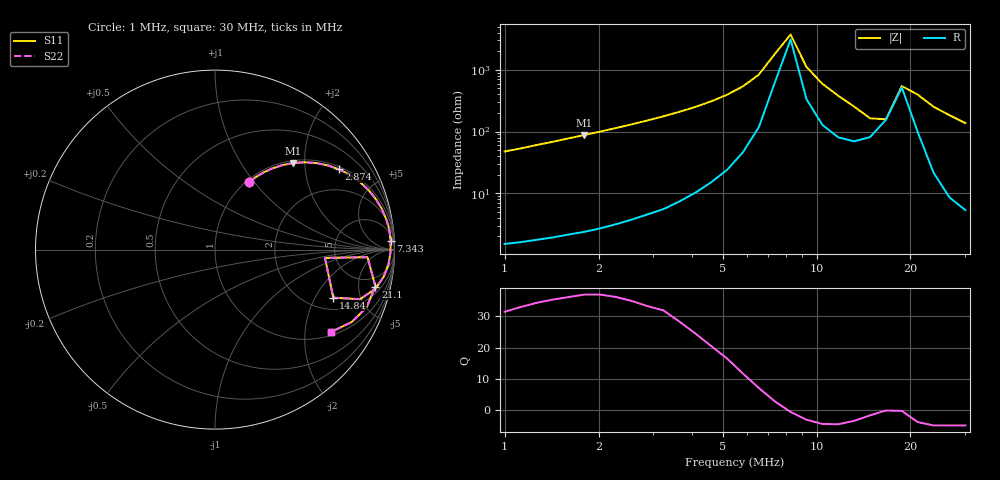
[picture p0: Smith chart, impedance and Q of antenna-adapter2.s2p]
# HZ S RI R 50
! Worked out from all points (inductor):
!   30 points, 1 MHz to 30 MHz, reference 50 ohm
!   read as one part in series: L = 7.36 uH near 1 MHz
!   highest Q = 37 at 1.798 MHz (marker M1), where L = 7.75 uH
!   self-resonance near 7.343 MHz
!   S11 on the Smith chart (normalised r, x): 1 MHz: 1.03, +0.95; 2.874 MHz: 1.09, +3.03; 7.343 MHz: 13, +34; 14.84 MHz: 2.63, -2.85; 21.1 MHz: 2.96, -7.68; 30 MHz: 1.11, -2.74
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1000000  0.1921 0.3784  0.8079 -0.3784  0.8079 -0.3784  0.1921 0.3784
1421692  0.3205 0.4527  0.6795 -0.4527  0.6795 -0.4527  0.3205 0.4527
1797530  0.4356 0.4825  0.5644 -0.4825  0.5644 -0.4825  0.4356 0.4825
2272723  0.5634 0.4824  0.4366 -0.4824  0.4366 -0.4824  0.5634 0.4824
2873538  0.6909 0.4474  0.3091 -0.4474  0.3091 -0.4474  0.6909 0.4474
3633184  0.8052 0.3788  0.1948 -0.3788  0.1948 -0.3788  0.8052 0.3788
4593649  0.8939 0.2846  0.1061 -0.2846  0.1061 -0.2846  0.8939 0.2846
5808022  0.953 0.1731  0.047 -0.1731  0.047 -0.1731  0.953 0.1731
6530756  0.9703 0.1129  0.0297 -0.1129  0.0297 -0.1129  0.9703 0.1129
7343425  0.9787 0.0502  0.0213 -0.0502  0.0213 -0.0502  0.9787 0.0502
8257221  0.9781 -0.0143  0.0219 0.0143  0.0219 0.0143  0.9781 -0.0143
9284726  0.9669 -0.0808  0.0331 0.0808  0.0331 0.0808  0.9669 -0.0808
1.044009e7  0.9411 -0.1495  0.0589 0.1495  0.0589 0.1495  0.9411 -0.1495
1.173923e7  0.8939 -0.218  0.1061 0.218  0.1061 0.218  0.8939 -0.218
1.320002e7  0.8081 -0.2766  0.1919 0.2766  0.1919 0.2766  0.8081 -0.2766
1.48426e7  0.6588 -0.2677  0.3412 0.2677  0.3412 0.2677  0.6588 -0.2677
1.668957e7  0.6128 -0.0462  0.3872 0.0462  0.3872 0.0462  0.6128 -0.0462
1.876638e7  0.85 -0.0423  0.15 0.0423  0.15 0.0423  0.85 -0.0423
2.110161e7  0.8939 -0.2057  0.1061 0.2057  0.1061 0.2057  0.8939 -0.2057
2.372744e7  0.8439 -0.3227  0.1561 0.3227  0.1561 0.3227  0.8439 -0.3227
2.668001e7  0.7619 -0.4033  0.2381 0.4033  0.2381 0.4033  0.7619 -0.4033
3e7  0.6475 -0.4587  0.3525 0.4587  0.3525 0.4587  0.6475 -0.4587
